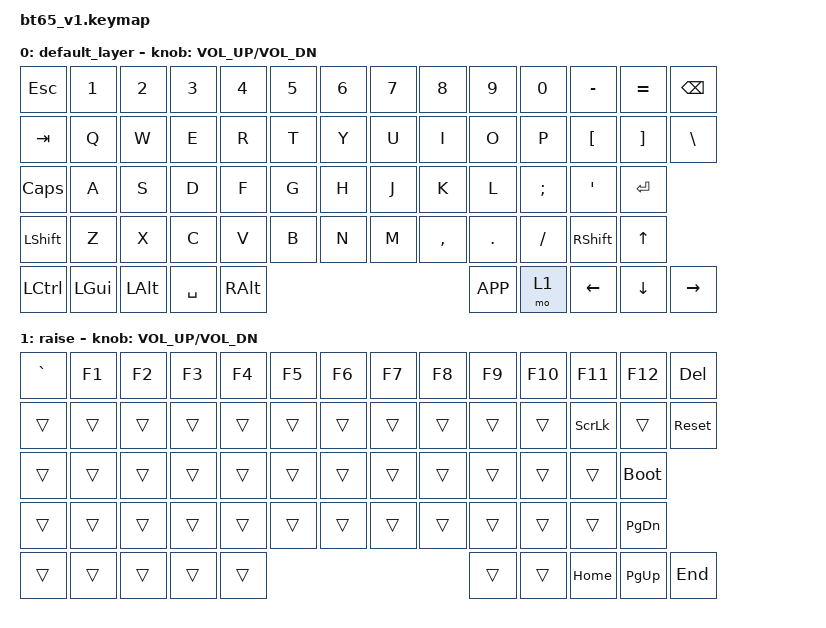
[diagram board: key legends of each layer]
#include <behaviors.dtsi>
#include <dt-bindings/zmk/keys.h>


/ {
  
  keymap {
    compatible = "zmk,keymap";

    default_layer {
        // ------------------------------------------------------------------------------------------------
        // | ESC |  1  |  2  |  3  |  4  |  5  |  6  |  7  |  8  |  9  |  0  |  -  |  =  |   BKSP   |
        // | TAB   |  Q  |  W  |  E  |  R  |  T  |  Y  |  U  |  I  |  O  |  P  |  [  |  ]  |   \    |
        // | CAPS   |  A  |  S  |  D  |  F  |  G  |  H  |  J  |  K  |  L  |  ;  |  '  |    ENTER    |
        // |  SHIFT   |  Z  |  X  |  C  |  V  |  B  |  N  |  M  |  ,  |  .  |  /  |   SHIFT   | UP |
        // |  CTL  |  WIN  |  ALT  |             SPACE                | ALT | APP | FN | LEFT| DOWN|RIGHT|
        // ------------------------------------------------------------------------------------------------
      bindings = <

        &kp ESC	 &kp N1	 &kp N2	 &kp N3	 &kp N4	 &kp N5	 &kp N6	 &kp N7	 &kp N8	  &kp N9   &kp N0	 &kp MINUS	 &kp EQUAL	 &kp BKSP 
        &kp TAB  &kp Q 	 &kp W 	 &kp E 	 &kp R 	 &kp T 	 &kp Y 	 &kp U 	 &kp I    &kp O    &kp P  	 &kp LBKT	 &kp RBKT	 &kp BSLH 
        &kp CLCK &kp A 	 &kp S 	 &kp D 	 &kp F 	 &kp G 	 &kp H 	 &kp J 	 &kp K    &kp L    &kp SEMI  &kp SQT     &kp RET 
        &kp LSHFT &kp Z  &kp X   &kp C   &kp V   &kp B   &kp N   &kp M   &kp COMMA &kp DOT &kp FSLH  &kp RSHFT   &kp UP 
        &kp LCTRL &kp LGUI &kp LALT            &kp SPACE                 &kp RALT &kp K_APP &mo 1    &kp LEFT    &kp DOWN    &kp RIGHT
      >;
      sensor-bindings = <&inc_dec_kp C_VOL_UP C_VOL_DN>;
    };
    raise {
        // --------------------------------------------------------------------------------------------------
        // |GRAVE| F1  | F2  | F3  | F4  | F5  | F6  | F7  | F8  | F9  | F10 | F11 | F12 |  DEL  |
        // | TAB  |  Q  |  W  |  E  | R | T |  Y  |  U  |  I  |  O  |  P  | [ |  ]  |  RESET      |
        // | CAPS  |  A  |  S  |  D  | F | G |  H  |  J  |  K  |  L  |  ;  |  '  |    BOOT        |
        // |  SHIFT   | Z | X | C | V | B |  N  |  M  |  ,  |  .  |  /  |    SHIFT      | PGUP |
        // | CTL | WIN |  ALT  |            SPACE               | ALT |  APP  | FN | HOME | PGDN | END |
        // --------------------------------------------------------------------------------------------------
      bindings = <
        &kp GRAVE    &kp F1    &kp F2    &kp F3    &kp F4    &kp F5    &kp F6    &kp F7    &kp F8   &kp F9   &kp F10   &kp F11   &kp F12   &kp DEL
        &trans		 &trans	   &trans	 &trans	   &trans    &trans    &trans    &trans    &trans   &trans   &trans    &kp SLCK  &trans    &sys_reset
        &trans       &trans    &trans    &trans    &trans    &trans    &trans    &trans    &trans   &trans   &trans    &trans    &bootloader
        &trans       &trans    &trans    &trans    &trans    &trans    &trans    &trans    &trans   &trans   &trans    &trans    &kp PG_DN
        &trans &trans  &trans              &trans                      &trans    &trans    &trans                      &kp HOME  &kp PG_UP &kp END
      >;
      sensor-bindings = <&inc_dec_kp C_VOL_UP C_VOL_DN>;
    };
  };
};
